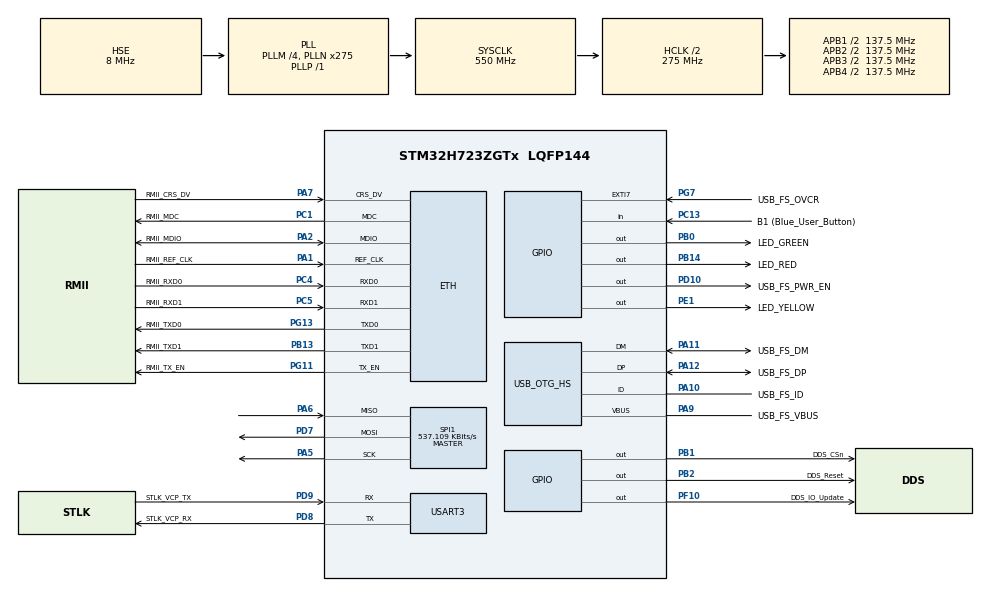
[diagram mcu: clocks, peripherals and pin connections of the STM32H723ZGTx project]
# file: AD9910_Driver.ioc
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ETH.MediaInterface=HAL_ETH_RMII_MODE
Mcu.Family=STM32H7
Mcu.Name=STM32H723ZGTx
Mcu.Package=LQFP144
NVIC.PriorityGroup=NVIC_PRIORITYGROUP_4
NVIC.USART3_IRQn=true\:0\:0\:false\:false\:true\:true\:true\:true
PA1.GPIO_Label=RMII_REF_CLK
PA1.Mode=RMII
PA1.Signal=ETH_REF_CLK
PA10.GPIO_Label=USB_FS_ID
PA10.Mode=OTG/Dual-Role-Device-FS
PA10.Signal=USB_OTG_HS_ID
PA11.GPIO_Label=USB_FS_DM
PA11.Mode=OTG/Dual-Role-Device-FS
PA11.Signal=USB_OTG_HS_DM
PA12.GPIO_Label=USB_FS_DP
PA12.Mode=OTG/Dual-Role-Device-FS
PA12.Signal=USB_OTG_HS_DP
PA13(JTMS/SWDIO).GPIO_Label=SWDIO
PA13(JTMS/SWDIO).Mode=Trace_Asynchronous_SW
PA13(JTMS/SWDIO).Signal=DEBUG_JTMS-SWDIO
PA14(JTCK/SWCLK).GPIO_Label=SWCLK
PA14(JTCK/SWCLK).Mode=Trace_Asynchronous_SW
PA14(JTCK/SWCLK).Signal=DEBUG_JTCK-SWCLK
PA2.GPIO_Label=RMII_MDIO
PA2.Mode=RMII
PA2.Signal=ETH_MDIO
PA5.Mode=Full_Duplex_Master
PA5.Signal=SPI1_SCK
PA6.Mode=Full_Duplex_Master
PA6.Signal=SPI1_MISO
PA7.GPIO_Label=RMII_CRS_DV
PA7.Mode=RMII
PA7.Signal=ETH_CRS_DV
PA9.GPIO_Label=USB_FS_VBUS
PA9.Mode=Activate_VBUS_FS
PA9.Signal=USB_OTG_HS_VBUS
PB0.GPIO_Label=LED_GREEN
PB0.Signal=GPIO_Output
PB1.GPIO_Label=DDS_CSn
PB1.Signal=GPIO_Output
PB13.GPIO_Label=RMII_TXD1
PB13.Mode=RMII
PB13.Signal=ETH_TXD1
PB14.GPIO_Label=LED_RED
PB14.Signal=GPIO_Output
PB2.GPIO_Label=DDS_Reset
PB2.Signal=GPIO_Output
PB3(JTDO/TRACESWO).GPIO_Label=SWO
PB3(JTDO/TRACESWO).Mode=Trace_Asynchronous_SW
PB3(JTDO/TRACESWO).Signal=DEBUG_JTDO-SWO
PC1.GPIO_Label=RMII_MDC
PC1.Mode=RMII
PC1.Signal=ETH_MDC
PC13.GPIO_Label=B1 (Blue_User_Button)
PC13.Signal=GPIO_Input
PC14-OSC32_IN.Mode=LSE-External-Oscillator
PC14-OSC32_IN.Signal=RCC_OSC32_IN
PC15-OSC32_OUT.Mode=LSE-External-Oscillator
PC15-OSC32_OUT.Signal=RCC_OSC32_OUT
PC4.GPIO_Label=RMII_RXD0
PC4.Mode=RMII
PC4.Signal=ETH_RXD0
PC5.GPIO_Label=RMII_RXD1
PC5.Mode=RMII
PC5.Signal=ETH_RXD1
PD10.GPIO_Label=USB_FS_PWR_EN
PD10.Signal=GPIO_Output
PD7.Mode=Full_Duplex_Master
PD7.Signal=SPI1_MOSI
PD8.GPIO_Label=STLK_VCP_RX
PD8.Mode=Asynchronous
PD8.Signal=USART3_TX
PD9.GPIO_Label=STLK_VCP_TX
PD9.Mode=Asynchronous
PD9.Signal=USART3_RX
PE1.GPIO_Label=LED_YELLOW
PE1.Signal=GPIO_Output
PF10.GPIO_Label=DDS_IO_Update
PF10.Signal=GPIO_Output
PG11.GPIO_Label=RMII_TX_EN
PG11.Mode=RMII
PG11.Signal=ETH_TX_EN
PG13.GPIO_Label=RMII_TXD0
PG13.Mode=RMII
PG13.Signal=ETH_TXD0
PG7.GPIO_Label=USB_FS_OVCR
PG7.Signal=GPXTI7
PH0-OSC_IN.GPIO_Label=MCO
PH0-OSC_IN.Mode=HSE-External-Clock-Source
PH0-OSC_IN.Signal=RCC_OSC_IN
PH1-OSC_OUT.Signal=RCC_OSC_OUT
ProjectManager.HeapSize=0x200
ProjectManager.StackSize=0x400
ProjectManager.TargetToolchain=STM32CubeIDE
RCC.ADCFreq_Value=76000000
RCC.APB1Freq_Value=137500000
RCC.APB2Freq_Value=137500000
RCC.APB3Freq_Value=137500000
RCC.APB4Freq_Value=137500000
RCC.CortexFreq_Value=550000000
RCC.D1PPRE=RCC_APB3_DIV2
RCC.D2PPRE1=RCC_APB1_DIV2
RCC.D2PPRE2=RCC_APB2_DIV2
RCC.D3PPRE=RCC_APB4_DIV2
RCC.DIVM1=4
RCC.DIVM2=1
RCC.DIVN1=275
RCC.DIVN2=19
RCC.DIVP1=1
RCC.DIVQ1=4
RCC.HCLKFreq_Value=275000000
RCC.HPRE=RCC_HCLK_DIV2
RCC.HSE_VALUE=8000000
RCC.PLLFRACN=0
RCC.PLLSourceVirtual=RCC_PLLSOURCE_HSE
RCC.SYSCLKFreq_VALUE=550000000
RCC.SYSCLKSource=RCC_SYSCLKSOURCE_PLLCLK
RCC.USBCLockSelection=RCC_USBCLKSOURCE_HSI48
RCC.USBFreq_Value=48000000
SPI1.BaudRatePrescaler=SPI_BAUDRATEPRESCALER_256
SPI1.CalculateBaudRate=537.109 KBits/s
SPI1.DataSize=SPI_DATASIZE_8BIT
SPI1.Direction=SPI_DIRECTION_2LINES
SPI1.Mode=SPI_MODE_MASTER
SPI1.VirtualType=VM_MASTER
USART3.VirtualMode-Asynchronous=VM_ASYNC
board=NUCLEO-H723ZG

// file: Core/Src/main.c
/* USER CODE BEGIN Header */
/**
  ******************************************************************************
  * @file           : main.c
  * @brief          : Main program body
  ******************************************************************************
  * @attention
  *
  * Copyright (c) 2024 STMicroelectronics.
  * All rights reserved.
  *
  * This software is licensed under terms that can be found in the LICENSE file
  * in the root directory of this software component.
  * If no LICENSE file comes with this software, it is provided AS-IS.
  *
  ******************************************************************************
  */
/* USER CODE END Header */
#include "main.h"
#include "string.h"

/* USER CODE BEGIN Includes */
#include <stdio.h>
#include <stdint.h>
#include <ad9910.h>
/* USER CODE END Includes */

#if defined ( __ICCARM__ ) /*!< IAR Compiler */
#pragma location=0x30000000
ETH_DMADescTypeDef  DMARxDscrTab[ETH_RX_DESC_CNT]; /* Ethernet Rx DMA Descriptors */
#pragma location=0x30000200
ETH_DMADescTypeDef  DMATxDscrTab[ETH_TX_DESC_CNT]; /* Ethernet Tx DMA Descriptors */

#elif defined ( __CC_ARM )  /* MDK ARM Compiler */

__attribute__((at(0x30000000))) ETH_DMADescTypeDef  DMARxDscrTab[ETH_RX_DESC_CNT]; /* Ethernet Rx DMA Descriptors */
__attribute__((at(0x30000200))) ETH_DMADescTypeDef  DMATxDscrTab[ETH_TX_DESC_CNT]; /* Ethernet Tx DMA Descriptors */

#elif defined ( __GNUC__ ) /* GNU Compiler */

ETH_DMADescTypeDef DMARxDscrTab[ETH_RX_DESC_CNT] __attribute__((section(".RxDecripSection"))); /* Ethernet Rx DMA Descriptors */
ETH_DMADescTypeDef DMATxDscrTab[ETH_TX_DESC_CNT] __attribute__((section(".TxDecripSection")));   /* Ethernet Tx DMA Descriptors */
#endif

ETH_TxPacketConfig TxConfig;

ETH_HandleTypeDef heth;

SPI_HandleTypeDef hspi1;

UART_HandleTypeDef huart3;

/* USER CODE BEGIN PV */
// Déclaration des variables globales
UART_HandleTypeDef huart3;
char rx_buffer[2];        // Buffer pour réception
char command_buffer[12];  // Buffer pour commande utilisateur
uint64_t FTW;
volatile uint8_t command_ready = 0;

uint64_t		ad9910_regs[NB_AD9910_REG];

/* USER CODE END PV */

void SystemClock_Config(void);
static void MX_GPIO_Init(void);
static void MX_ETH_Init(void);
static void MX_SPI1_Init(void);
static void MX_USART3_UART_Init(void);
static void MX_USB_OTG_HS_USB_Init(void);
/* USER CODE BEGIN PFP */
int _write(int file, char *ptr, int len) {
    HAL_UART_Transmit(&huart3, (uint8_t *)ptr, len, HAL_MAX_DELAY);
    return len;
}

void UART_SendString(char *message);

void processCommand(void);

uint64_t convert_hz_to_hex(int hz) {
    uint32_t hex_value = (uint32_t)round((pow(2, 32) * hz) / 480000000.0);

    // Combiner 0x3FFF0000 et la valeur calculée dans un uint64_t
    uint64_t result = ((uint64_t)0x3FFF0000 << 32) | hex_value;
    printf("Valeur HEXA sur 8 octets : 0x%016llX\n", result);

    return result;
}

int extract_int_from_string(const char *str) {
    return atoi(str + 2); // Ignorer les 2 premiers caractères et convertir en entier
}

void DDS_Test() {
    uint64_t read_value = 0x000000000000;

    // Écriture dans un registre (par exemple 0x04 pour la fréquence de base)
    if (AD9910_WriteRegister(0x00, 0x00800302) == HAL_OK) {
        printf("Registre écrit avec succès.\n");
    } else {
        printf("Erreur d'écriture dans le registre.\n");
    }
    AD9910_IOUpdate();
    HAL_Delay(10);

    // Lecture dans un registre (par exemple 0x04 pour la fréquence de base)
    if (AD9910_ReadRegister(0x0E, &read_value) == HAL_OK) {
        printf("Valeur lue du registre 0x00 : 0x%016lX\n", read_value);
    } else {
        printf("Erreur de lecture dans le registre.");
        printf("Test commit develop");
    }
}

void DDS_Reg_Update() {
	uint64_t readback = 0;
	int concatenated_value = extract_int_from_string(command_buffer);
	FTW = convert_hz_to_hex(concatenated_value);

	ad9910_regs[0] 		= 0x00800302;
	ad9910_regs[1] 		= 0x01000820;
	ad9910_regs[2] 		= 0x01204118; //PLL ON, VCO1, N=12
	ad9910_regs[3] 		= 0x0000007F;
	ad9910_regs[4] 		= 0xFFFFFFFF;
	ad9910_regs[5] 		= 0x000000000000;
	ad9910_regs[6] 		= 0x000000000000;
	ad9910_regs[7] 		= 0x00000000; //FTW 100MHz
	ad9910_regs[8] 		= 0x0000; //POW
	ad9910_regs[9] 		= 0x0001FFFC; //ASF full scale
	ad9910_regs[0x0A] 	= 0x00000000;
	ad9910_regs[0x0B] 	= 0x0000000000000000;
	ad9910_regs[0x0C] 	= 0x0000000000000000;
	ad9910_regs[0x0D] 	= 0x00000000;
	ad9910_regs[0x0E] 	= FTW;
	ad9910_regs[0x0F] 	= FTW;
	ad9910_regs[0x10] 	= FTW;
	ad9910_regs[0x11] 	= FTW;
	ad9910_regs[0x12] 	= FTW;
	ad9910_regs[0x13] 	= FTW;
	ad9910_regs[0x14] 	= FTW;
	ad9910_regs[0x15] 	= FTW;
	ad9910_regs[0x16] 	= 0x00000000;
	printf("Ecriture des registres.\n");

	for (uint8_t i = 0; i < 23; i++) {
			AD9910_WriteRegister(i,ad9910_regs[i]);
	    }
	printf("IO Update.\n");
	AD9910_IOUpdate();
	HAL_Delay(10);
	for (int i = 0; i < 23; i++) {
		 AD9910_ReadRegister(i,&readback);
		 printf("Valeur du registre 0x%X = 0x%08lX%08lX\n", i, (uint32_t)(readback >> 32), (uint32_t)(readback));
	    }
}

void HAL_UART_RxCpltCallback(UART_HandleTypeDef *huart) {
    static uint8_t index = 0;

    if (huart->Instance == USART3) {
        if (rx_buffer[0] == '\n' || rx_buffer[0] == '\r') {  // Fin de commande
            command_buffer[index] = '\0';
            index = 0;
            command_ready = 1;
        } else if (index < sizeof(command_buffer) - 1) {
            command_buffer[index++] = rx_buffer[0];
        }

        // Relance la réception
        HAL_UART_Receive_IT(&huart3, (uint8_t *)rx_buffer, 1);
    }
}

void UART_SendString(char *message) {
    HAL_UART_Transmit(&huart3, (uint8_t *)message, strlen(message), HAL_MAX_DELAY);
}

void processCommand(void) {

	if (command_buffer[0] == '1' || command_buffer[0] == '2' || command_buffer[0] == '3'){
        // Effectuer l'action correspondante
        switch (command_buffer[0]) {
            case '1': AD9910_Reset(); break;
            case '2': DDS_Test(); break;
            case '3': DDS_Reg_Update();break;
            default:
                UART_SendString("IO invalide\r\n");
                return;
        }
	} else
        {
        	printf("Commande invalide\r\n");
        	return;
        }

        // Confirmation après exécution

}
/* USER CODE END PFP */

int main(void)
{

  /* MCU Configuration--------------------------------------------------------*/

  /* Reset of all peripherals, Initializes the Flash interface and the Systick. */
  HAL_Init();

  /* Configure the system clock */
  SystemClock_Config();

  /* Initialize all configured peripherals */
  MX_GPIO_Init();
  MX_ETH_Init();
  MX_SPI1_Init();
  MX_USART3_UART_Init();
  MX_USB_OTG_HS_USB_Init();
  /* USER CODE BEGIN 2 */
  HAL_UART_Receive_IT(&huart3, (uint8_t *)rx_buffer, 1);
  AD9910_Reset();
  UART_SendString("Programme de test. Entrez une commande.\r\n");
  /* USER CODE END 2 */

  /* Infinite loop */
  /* USER CODE BEGIN WHILE */
  while (1)
  {
	  if (command_ready) {
	             command_ready = 0;
	             processCommand();
	         }
    /* USER CODE END WHILE */

  }
}

void SystemClock_Config(void)
{
  RCC_OscInitTypeDef RCC_OscInitStruct = {0};
  RCC_ClkInitTypeDef RCC_ClkInitStruct = {0};

  /** Supply configuration update enable
  */
  HAL_PWREx_ConfigSupply(PWR_LDO_SUPPLY);

  /** Configure the main internal regulator output voltage
  */
  __HAL_PWR_VOLTAGESCALING_CONFIG(PWR_REGULATOR_VOLTAGE_SCALE0);

  while(!__HAL_PWR_GET_FLAG(PWR_FLAG_VOSRDY)) {}

  /** Initializes the RCC Oscillators according to the specified parameters
  * in the RCC_OscInitTypeDef structure.
  */
  RCC_OscInitStruct.OscillatorType = RCC_OSCILLATORTYPE_HSI48|RCC_OSCILLATORTYPE_HSE;
  RCC_OscInitStruct.HSEState = RCC_HSE_BYPASS;
  RCC_OscInitStruct.HSI48State = RCC_HSI48_ON;
  RCC_OscInitStruct.PLL.PLLState = RCC_PLL_ON;
  RCC_OscInitStruct.PLL.PLLSource = RCC_PLLSOURCE_HSE;
  RCC_OscInitStruct.PLL.PLLM = 4;
  RCC_OscInitStruct.PLL.PLLN = 275;
  RCC_OscInitStruct.PLL.PLLP = 1;
  RCC_OscInitStruct.PLL.PLLQ = 4;
  RCC_OscInitStruct.PLL.PLLR = 2;
  RCC_OscInitStruct.PLL.PLLRGE = RCC_PLL1VCIRANGE_1;
  RCC_OscInitStruct.PLL.PLLVCOSEL = RCC_PLL1VCOWIDE;
  RCC_OscInitStruct.PLL.PLLFRACN = 0;
  if (HAL_RCC_OscConfig(&RCC_OscInitStruct) != HAL_OK)
  {
    Error_Handler();
  }

  /** Initializes the CPU, AHB and APB buses clocks
  */
  RCC_ClkInitStruct.ClockType = RCC_CLOCKTYPE_HCLK|RCC_CLOCKTYPE_SYSCLK
                              |RCC_CLOCKTYPE_PCLK1|RCC_CLOCKTYPE_PCLK2
                              |RCC_CLOCKTYPE_D3PCLK1|RCC_CLOCKTYPE_D1PCLK1;
  RCC_ClkInitStruct.SYSCLKSource = RCC_SYSCLKSOURCE_PLLCLK;
  RCC_ClkInitStruct.SYSCLKDivider = RCC_SYSCLK_DIV1;
  RCC_ClkInitStruct.AHBCLKDivider = RCC_HCLK_DIV2;
  RCC_ClkInitStruct.APB3CLKDivider = RCC_APB3_DIV2;
  RCC_ClkInitStruct.APB1CLKDivider = RCC_APB1_DIV2;
  RCC_ClkInitStruct.APB2CLKDivider = RCC_APB2_DIV2;
  RCC_ClkInitStruct.APB4CLKDivider = RCC_APB4_DIV2;

  if (HAL_RCC_ClockConfig(&RCC_ClkInitStruct, FLASH_LATENCY_3) != HAL_OK)
  {
    Error_Handler();
  }
}

static void MX_ETH_Init(void)
{

   static uint8_t MACAddr[6];

  heth.Instance = ETH;
  MACAddr[0] = 0x00;
  MACAddr[1] = 0x80;
  MACAddr[2] = 0xE1;
  MACAddr[3] = 0x00;
  MACAddr[4] = 0x00;
  MACAddr[5] = 0x00;
  heth.Init.MACAddr = &MACAddr[0];
  heth.Init.MediaInterface = HAL_ETH_RMII_MODE;
  heth.Init.TxDesc = DMATxDscrTab;
  heth.Init.RxDesc = DMARxDscrTab;
  heth.Init.RxBuffLen = 1524;

  if (HAL_ETH_Init(&heth) != HAL_OK)
  {
    Error_Handler();
  }

  memset(&TxConfig, 0 , sizeof(ETH_TxPacketConfig));
  TxConfig.Attributes = ETH_TX_PACKETS_FEATURES_CSUM | ETH_TX_PACKETS_FEATURES_CRCPAD;
  TxConfig.ChecksumCtrl = ETH_CHECKSUM_IPHDR_PAYLOAD_INSERT_PHDR_CALC;
  TxConfig.CRCPadCtrl = ETH_CRC_PAD_INSERT;

}

static void MX_SPI1_Init(void)
{

  /* SPI1 parameter configuration*/
  hspi1.Instance = SPI1;
  hspi1.Init.Mode = SPI_MODE_MASTER;
  hspi1.Init.Direction = SPI_DIRECTION_2LINES;
  hspi1.Init.DataSize = SPI_DATASIZE_8BIT;
  hspi1.Init.CLKPolarity = SPI_POLARITY_LOW;
  hspi1.Init.CLKPhase = SPI_PHASE_1EDGE;
  hspi1.Init.NSS = SPI_NSS_SOFT;
  hspi1.Init.BaudRatePrescaler = SPI_BAUDRATEPRESCALER_256;
  hspi1.Init.FirstBit = SPI_FIRSTBIT_MSB;
  hspi1.Init.TIMode = SPI_TIMODE_DISABLE;
  hspi1.Init.CRCCalculation = SPI_CRCCALCULATION_DISABLE;
  hspi1.Init.CRCPolynomial = 0x0;
  hspi1.Init.NSSPMode = SPI_NSS_PULSE_ENABLE;
  hspi1.Init.NSSPolarity = SPI_NSS_POLARITY_LOW;
  hspi1.Init.FifoThreshold = SPI_FIFO_THRESHOLD_01DATA;
  hspi1.Init.TxCRCInitializationPattern = SPI_CRC_INITIALIZATION_ALL_ZERO_PATTERN;
  hspi1.Init.RxCRCInitializationPattern = SPI_CRC_INITIALIZATION_ALL_ZERO_PATTERN;
  hspi1.Init.MasterSSIdleness = SPI_MASTER_SS_IDLENESS_00CYCLE;
  hspi1.Init.MasterInterDataIdleness = SPI_MASTER_INTERDATA_IDLENESS_00CYCLE;
  hspi1.Init.MasterReceiverAutoSusp = SPI_MASTER_RX_AUTOSUSP_DISABLE;
  hspi1.Init.MasterKeepIOState = SPI_MASTER_KEEP_IO_STATE_DISABLE;
  hspi1.Init.IOSwap = SPI_IO_SWAP_DISABLE;
  if (HAL_SPI_Init(&hspi1) != HAL_OK)
  {
    Error_Handler();
  }

}

static void MX_USART3_UART_Init(void)
{

  huart3.Instance = USART3;
  huart3.Init.BaudRate = 115200;
  huart3.Init.WordLength = UART_WORDLENGTH_8B;
  huart3.Init.StopBits = UART_STOPBITS_1;
  huart3.Init.Parity = UART_PARITY_NONE;
  huart3.Init.Mode = UART_MODE_TX_RX;
  huart3.Init.HwFlowCtl = UART_HWCONTROL_NONE;
  huart3.Init.OverSampling = UART_OVERSAMPLING_16;
  huart3.Init.OneBitSampling = UART_ONE_BIT_SAMPLE_DISABLE;
  huart3.Init.ClockPrescaler = UART_PRESCALER_DIV1;
  huart3.AdvancedInit.AdvFeatureInit = UART_ADVFEATURE_NO_INIT;
  if (HAL_UART_Init(&huart3) != HAL_OK)
  {
    Error_Handler();
  }
  if (HAL_UARTEx_SetTxFifoThreshold(&huart3, UART_TXFIFO_THRESHOLD_1_8) != HAL_OK)
  {
    Error_Handler();
  }
  if (HAL_UARTEx_SetRxFifoThreshold(&huart3, UART_RXFIFO_THRESHOLD_1_8) != HAL_OK)
  {
    Error_Handler();
  }
  if (HAL_UARTEx_DisableFifoMode(&huart3) != HAL_OK)
  {
    Error_Handler();
  }

}

static void MX_USB_OTG_HS_USB_Init(void)
{

}

static void MX_GPIO_Init(void)
{
  GPIO_InitTypeDef GPIO_InitStruct = {0};

  /* GPIO Ports Clock Enable */
  __HAL_RCC_GPIOC_CLK_ENABLE();
  __HAL_RCC_GPIOF_CLK_ENABLE();
  __HAL_RCC_GPIOH_CLK_ENABLE();
  __HAL_RCC_GPIOA_CLK_ENABLE();
  __HAL_RCC_GPIOB_CLK_ENABLE();
  __HAL_RCC_GPIOD_CLK_ENABLE();
  __HAL_RCC_GPIOG_CLK_ENABLE();
  __HAL_RCC_GPIOE_CLK_ENABLE();

  /*Configure GPIO pin Output Level */
  HAL_GPIO_WritePin(DDS_IO_Update_GPIO_Port, DDS_IO_Update_Pin, GPIO_PIN_RESET);

  /*Configure GPIO pin Output Level */
  HAL_GPIO_WritePin(GPIOB, LED_GREEN_Pin|DDS_CSn_Pin|DDS_Reset_Pin|LED_RED_Pin, GPIO_PIN_RESET);

  /*Configure GPIO pin Output Level */
  HAL_GPIO_WritePin(USB_FS_PWR_EN_GPIO_Port, USB_FS_PWR_EN_Pin, GPIO_PIN_RESET);

  /*Configure GPIO pin Output Level */
  HAL_GPIO_WritePin(LED_YELLOW_GPIO_Port, LED_YELLOW_Pin, GPIO_PIN_RESET);

  /*Configure GPIO pin : B1_Pin */
  GPIO_InitStruct.Pin = B1_Pin;
  GPIO_InitStruct.Mode = GPIO_MODE_INPUT;
  GPIO_InitStruct.Pull = GPIO_NOPULL;
  HAL_GPIO_Init(B1_GPIO_Port, &GPIO_InitStruct);

  /*Configure GPIO pin : DDS_IO_Update_Pin */
  GPIO_InitStruct.Pin = DDS_IO_Update_Pin;
  GPIO_InitStruct.Mode = GPIO_MODE_OUTPUT_PP;
  GPIO_InitStruct.Pull = GPIO_NOPULL;
  GPIO_InitStruct.Speed = GPIO_SPEED_FREQ_LOW;
  HAL_GPIO_Init(DDS_IO_Update_GPIO_Port, &GPIO_InitStruct);

  /*Configure GPIO pins : LED_GREEN_Pin DDS_CSn_Pin DDS_Reset_Pin LED_RED_Pin */
  GPIO_InitStruct.Pin = LED_GREEN_Pin|DDS_CSn_Pin|DDS_Reset_Pin|LED_RED_Pin;
  GPIO_InitStruct.Mode = GPIO_MODE_OUTPUT_PP;
  GPIO_InitStruct.Pull = GPIO_NOPULL;
  GPIO_InitStruct.Speed = GPIO_SPEED_FREQ_LOW;
  HAL_GPIO_Init(GPIOB, &GPIO_InitStruct);

  /*Configure GPIO pin : USB_FS_PWR_EN_Pin */
  GPIO_InitStruct.Pin = USB_FS_PWR_EN_Pin;
  GPIO_InitStruct.Mode = GPIO_MODE_OUTPUT_PP;
  GPIO_InitStruct.Pull = GPIO_NOPULL;
  GPIO_InitStruct.Speed = GPIO_SPEED_FREQ_LOW;
  HAL_GPIO_Init(USB_FS_PWR_EN_GPIO_Port, &GPIO_InitStruct);

  /*Configure GPIO pin : USB_FS_OVCR_Pin */
  GPIO_InitStruct.Pin = USB_FS_OVCR_Pin;
  GPIO_InitStruct.Mode = GPIO_MODE_IT_RISING;
  GPIO_InitStruct.Pull = GPIO_NOPULL;
  HAL_GPIO_Init(USB_FS_OVCR_GPIO_Port, &GPIO_InitStruct);

  /*Configure GPIO pin : USB_FS_VBUS_Pin */
  GPIO_InitStruct.Pin = USB_FS_VBUS_Pin;
  GPIO_InitStruct.Mode = GPIO_MODE_INPUT;
  GPIO_InitStruct.Pull = GPIO_NOPULL;
  HAL_GPIO_Init(USB_FS_VBUS_GPIO_Port, &GPIO_InitStruct);

  /*Configure GPIO pin : USB_FS_ID_Pin */
  GPIO_InitStruct.Pin = USB_FS_ID_Pin;
  GPIO_InitStruct.Mode = GPIO_MODE_AF_PP;
  GPIO_InitStruct.Pull = GPIO_NOPULL;
  GPIO_InitStruct.Speed = GPIO_SPEED_FREQ_LOW;
  GPIO_InitStruct.Alternate = GPIO_AF10_OTG1_HS;
  HAL_GPIO_Init(USB_FS_ID_GPIO_Port, &GPIO_InitStruct);

  /*Configure GPIO pin : LED_YELLOW_Pin */
  GPIO_InitStruct.Pin = LED_YELLOW_Pin;
  GPIO_InitStruct.Mode = GPIO_MODE_OUTPUT_PP;
  GPIO_InitStruct.Pull = GPIO_NOPULL;
  GPIO_InitStruct.Speed = GPIO_SPEED_FREQ_LOW;
  HAL_GPIO_Init(LED_YELLOW_GPIO_Port, &GPIO_InitStruct);

}

void Error_Handler(void)
{
  __disable_irq();
  while (1)
  {
  }
}
